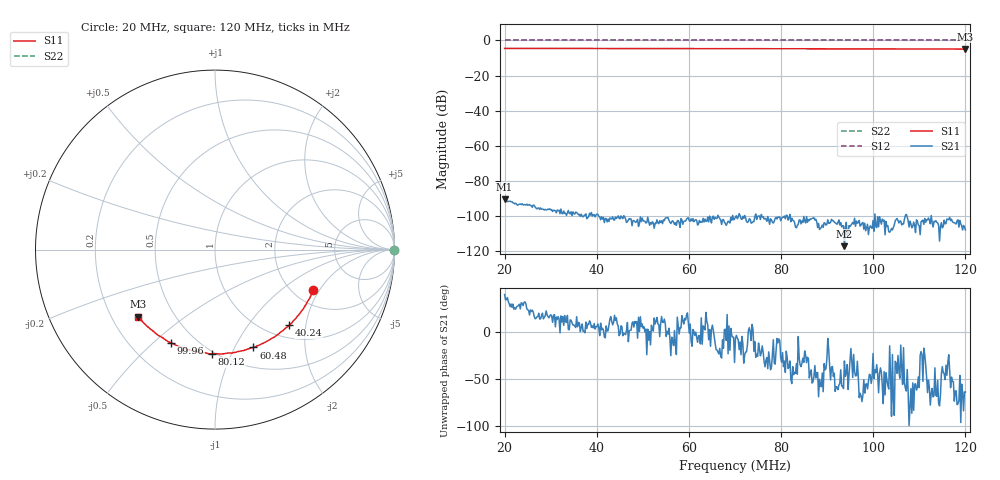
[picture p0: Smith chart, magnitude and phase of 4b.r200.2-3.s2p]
! Anritsu VNA Master:  Model: MS2036C/10/77
! SN:  1601066
! /bd0/18may26.balun/4b.r200.3.s2p
! Existing Calibration Information:
! TYPE:  Current Settings,  Active Cal Settings
! TIME:  05/26/2018 05:21:37 PM,  05/26/2018 05:08:07 PM
! INTERNAL TEMP:  52.8 C,  52.5 C
! # POINTS:  500,  500
! START FREQ:  20.000 MHz,  20.000 MHz
! STOP FREQ:  120.000 MHz,  120.000 MHz
! SOURCE POWER:  High,  High
! IFBW:  50 Hz,  50 Hz
! AVG FACTOR:  1 ,  1
! REF PLANE 1:  0 mm,  0 mm
! REF PLANE 2:  0 mm,  0 mm
! CAL TYPE:  Full S11,  Full S11
! CAL METHOD:  SOLT,  SOLT
! CAL LINE TYPE:  Coax,  Coax
! DUT PORT 1:  K-Conn(M),  K-Conn(M)
! DUT PORT 2:  K-Conn(M),  K-Conn(M)
! CAL STATUS:  OK: Accuracy High,  --
# GHZ S DB R 50.0
! FREQ.GHZ  S11DB  S11A  S21DB  S21A  S12DB  S12A  S22DB  S22A
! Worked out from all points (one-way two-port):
!   500 points, 20 MHz to 120 MHz, reference 50 ohm
!   highest |S21| = -90.68 dB at 20 MHz (marker M1); lowest = -117.3 dB at 93.75 MHz (marker M2)
!   lowest |S11| = -4.9 dB at 120 MHz (marker M3), VSWR 3.63, Z = 15.6 - j17.2 ohm
!   |S11| at or under -10 dB: nowhere
!   |S22| runs from 0.0 to 0.0 dB; largest |S21 - S12| = 1
!   S11 on the Smith chart (normalised r, x): 20 MHz: 2.53, -1.77; 40.24 MHz: 1.25, -1.61; 60.48 MHz: 0.72, -1.19; 80.12 MHz: 0.48, -0.85; 99.96 MHz: 0.37, -0.57; 120 MHz: 0.31, -0.34
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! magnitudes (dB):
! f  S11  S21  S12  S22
! 20 MHz  -4.5  -90.7  0.0  0.0
! 36.83 MHz  -4.6  -100.2  0.0  0.0
! 38.44 MHz  -4.6  -98.5  0.0  0.0
! 40.24 MHz  -4.6  -99.2  0.0  0.0
! 53.47 MHz  -4.6  -104.5  0.0  0.0
! 60.48 MHz  -4.6  -101.7  0.0  0.0
! 67.29 MHz  -4.7  -102.3  0.0  0.0
! 70.1 MHz  -4.7  -100.7  0.0  0.0
! 72.71 MHz  -4.7  -103.7  0.0  0.0
! 75.51 MHz  -4.7  -102.1  0.0  0.0
! 78.12 MHz  -4.7  -103.6  0.0  0.0
! 80.12 MHz  -4.7  -101.4  0.0  0.0
! 83.53 MHz  -4.8  -105.4  0.0  0.0
! 86.73 MHz  -4.7  -101.5  0.0  0.0
! 93.75 MHz  -4.8  -117.3  0.0  0.0
! 96.15 MHz  -4.8  -106.0  0.0  0.0
! 99.96 MHz  -4.8  -102.7  0.0  0.0
! 101.4 MHz  -4.8  -100.5  0.0  0.0
! 103.4 MHz  -4.8  -109.0  0.0  0.0
! 105 MHz  -4.9  -102.1  0.0  0.0
! 107.6 MHz  -4.8  -102.8  0.0  0.0
! 120 MHz  -4.9  -108.0  0.0  0.0
